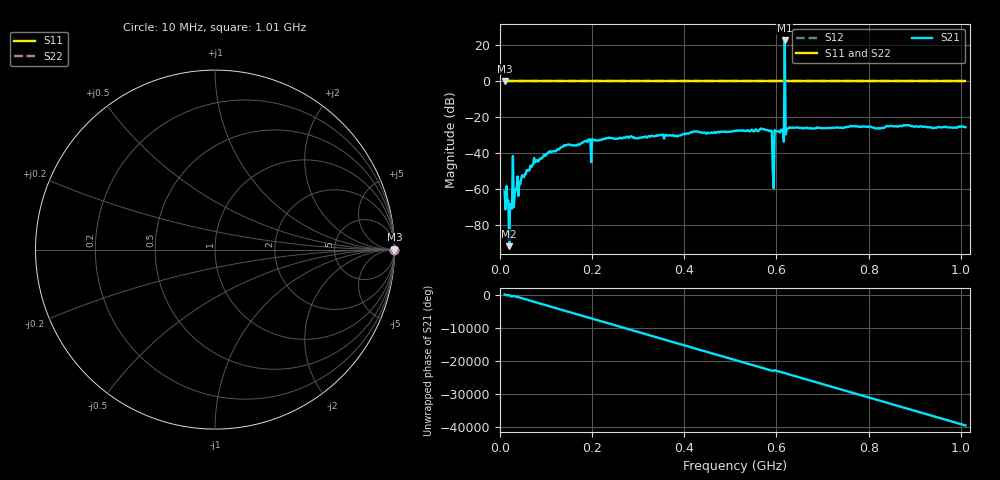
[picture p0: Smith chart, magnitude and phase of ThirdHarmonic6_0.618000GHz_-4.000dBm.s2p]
! 8/15/2025 8:17:38 PM
! C:\ANRITSUVNA\TEMP\TEMP.S2P
! CHANNEL.1
! TR.MEASUREMENT
! RAW.DATA
! RF.CORRECTION.OFF
! AVERAGING.OFF
! IF.BANDWIDTH: 5KHZ
! SWEEPTYPE:  FREQ.SWEEP(Linear)
! Reference Plane Port Info
! PORT:  PORT1  PORT2
! DISTANCE:  0  m  0  m
! TIME:  0  s  0  s
! PHASE.OFFSET:  0  deg.  0  deg.
! LOSS:  0  dB  0  dB
! REF.LOSS:  0  dB  0  dB
! REF.FREQ:  0  Hz  0  Hz
! Power Info
! POWER:  -20  dBm  -20  dBm
! EFF.POWER:  -20  dBm  -20  dBm
! SOURCE.ATTEN:  0  dB  0  dB
! TEST.ATTEN:  0  dB  0  dB
# GHZ S RI R 50.0
! FREQ.GHZ  S11RE  S11IM  S21RE  S21IM  S12RE  S12IM  S22RE  S22IM
!; PortSelection: Port_12
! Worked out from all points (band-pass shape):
!   501 points, 10 MHz to 1.01 GHz, reference 50 ohm
!   highest |S21| = 22.54 dB at 618 MHz (marker M1); lowest = -91.6 dB at 20 MHz (marker M2)
!   |S21| within 3 dB of the highest: 617.8932 MHz to 618.1149 MHz (221.7 kHz wide, 0.0359 % of centre)
!   lowest |S11| = 0.0 dB at 10 MHz (marker M3)
!   |S11| at or under -10 dB: nowhere
!   |S22| runs from 0.0 to 0.0 dB; largest |S21 - S12| = 14
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0.01  1 0  -0.000402 0.000761  1 0  1 0
0.02  1 0  7.4e-06 -2.52e-05  1 0  1 0
0.022  1 0  -0.00016 0.000358  1 0  1 0
0.024  1 0  0.000251 -0.000225  1 0  1 0
0.032  1 0  0.000737 -0.000242  1 0  1 0
0.034  1 0  -0.000785 -0.000607  1 0  1 0
0.076  1 0  0.00553 0.000561  1 0  1 0
0.178  1 0  -0.0194 -0.0035  1 0  1 0
0.344  1 0  0.0296 -0.00814  1 0  1 0
0.51  1 0  -0.0376 0.0181  1 0  1 0
0.586  1 0  0.0389 -0.016  1 0  1 0
0.59  1 0  -0.0404 0.00449  1 0  1 0
0.596  1 0  0.0154 -0.0411  1 0  1 0
0.6  1 0  -0.0297 0.0264  1 0  1 0
0.612  1 0  0.0402 0.0146  1 0  1 0
0.614  1 0  0.0228 -0.0398  1 0  1 0
0.618  1 0  -10.85 -7.863  1 0  1 0
0.622  1 0  0.0421 -0.0194  1 0  1 0
0.624  1 0  -0.0106 -0.046  1 0  1 0
0.678  1 0  -0.0271 -0.0396  1 0  1 0
0.844  1 0  0.0452 0.0322  1 0  1 0
1.01  1 0  -0.0522 -0.00428  1 0  1 0
